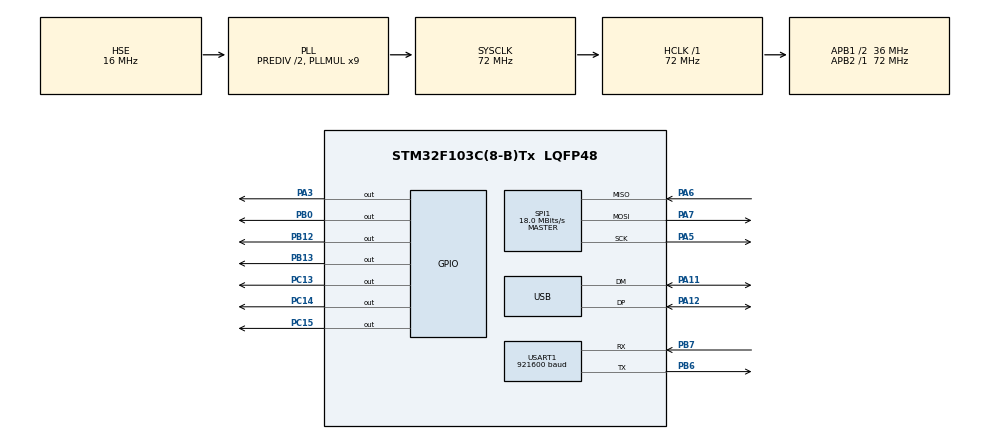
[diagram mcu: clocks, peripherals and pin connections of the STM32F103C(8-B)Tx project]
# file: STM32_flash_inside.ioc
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Mcu.Family=STM32F1
Mcu.Name=STM32F103C(8-B)Tx
Mcu.Package=LQFP48
NVIC.PriorityGroup=NVIC_PRIORITYGROUP_4
NVIC.USART1_IRQn=true\:0\:0\:false\:false\:true\:true\:true
NVIC.USB_LP_CAN1_RX0_IRQn=true\:1\:0\:true\:false\:true\:false\:true
PA11.Mode=Device
PA11.Signal=USB_DM
PA12.Mode=Device
PA12.Signal=USB_DP
PA13.Mode=Serial_Wire
PA13.Signal=SYS_JTMS-SWDIO
PA14.Mode=Serial_Wire
PA14.Signal=SYS_JTCK-SWCLK
PA3.GPIO_Speed=GPIO_SPEED_FREQ_HIGH
PA3.PinState=GPIO_PIN_SET
PA3.Signal=GPIO_Output
PA5.Mode=Full_Duplex_Master
PA5.Signal=SPI1_SCK
PA6.Mode=Full_Duplex_Master
PA6.Signal=SPI1_MISO
PA7.Mode=Full_Duplex_Master
PA7.Signal=SPI1_MOSI
PB0.GPIO_Speed=GPIO_SPEED_FREQ_HIGH
PB0.PinState=GPIO_PIN_SET
PB0.Signal=GPIO_Output
PB12.Signal=GPIO_Output
PB13.Signal=GPIO_Output
PB6.Mode=Asynchronous
PB6.Signal=USART1_TX
PB7.Mode=Asynchronous
PB7.Signal=USART1_RX
PC13-TAMPER-RTC.GPIO_Speed=GPIO_SPEED_FREQ_HIGH
PC13-TAMPER-RTC.PinState=GPIO_PIN_SET
PC13-TAMPER-RTC.Signal=GPIO_Output
PC14-OSC32_IN.GPIO_Speed=GPIO_SPEED_FREQ_HIGH
PC14-OSC32_IN.PinState=GPIO_PIN_SET
PC14-OSC32_IN.Signal=GPIO_Output
PC15-OSC32_OUT.GPIO_Speed=GPIO_SPEED_FREQ_HIGH
PC15-OSC32_OUT.PinState=GPIO_PIN_SET
PC15-OSC32_OUT.Signal=GPIO_Output
PD0-OSC_IN.Mode=HSE-External-Oscillator
PD0-OSC_IN.Signal=RCC_OSC_IN
PD1-OSC_OUT.Mode=HSE-External-Oscillator
PD1-OSC_OUT.Signal=RCC_OSC_OUT
ProjectManager.HeapSize=0x400
ProjectManager.StackSize=0x800
ProjectManager.TargetToolchain=STM32CubeIDE
RCC.AHBFreq_Value=72000000
RCC.APB1CLKDivider=RCC_HCLK_DIV2
RCC.APB1Freq_Value=36000000
RCC.APB1TimFreq_Value=72000000
RCC.APB2Freq_Value=72000000
RCC.APB2TimFreq_Value=72000000
RCC.HCLKFreq_Value=72000000
RCC.HSEDivPLL=RCC_HSE_PREDIV_DIV2
RCC.HSE_VALUE=16000000
RCC.PLLMUL=RCC_PLL_MUL9
RCC.PLLSourceVirtual=RCC_PLLSOURCE_HSE
RCC.SYSCLKFreq_VALUE=72000000
RCC.SYSCLKSource=RCC_SYSCLKSOURCE_PLLCLK
RCC.USBFreq_Value=48000000
RCC.USBPrescaler=RCC_USBCLKSOURCE_PLL_DIV1_5
SPI1.BaudRatePrescaler=SPI_BAUDRATEPRESCALER_4
SPI1.CalculateBaudRate=18.0 MBits/s
SPI1.Direction=SPI_DIRECTION_2LINES
SPI1.Mode=SPI_MODE_MASTER
SPI1.VirtualType=VM_MASTER
TIM3.Period=9999
TIM3.Prescaler=71
TIM3.TIM_MasterOutputTrigger=TIM_TRGO_UPDATE
TIM3.TIM_MasterSlaveMode=TIM_MASTERSLAVEMODE_ENABLE
USART1.BaudRate=921600
USART1.VirtualMode=VM_ASYNC
USB_DEVICE.CLASS_NAME_FS=MSC
USB_DEVICE.MANUFACTURER_STRING=KARMA-E
USB_DEVICE.MSC_MEDIA_PACKET=1024
USB_DEVICE.PID_MSC_FS=0x2346
USB_DEVICE.PRODUCT_STRING_MSC_FS=Flash
USB_DEVICE.USBD_MAX_STR_DESC_SIZ=1024
USB_DEVICE.VID=0x1209
USB_DEVICE.VirtualMode=Msc
USB_DEVICE.VirtualModeFS=Msc_FS
VP_TIM2_VS_ClockSourceITR.Mode=TriggerSource_ITR2
VP_TIM2_VS_ControllerModeClock.Mode=Clock Mode
VP_TIM3_VS_ClockSourceINT.Mode=Internal
VP_USB_DEVICE_VS_USB_DEVICE_MSC_FS.Mode=MSC_FS
board=custom

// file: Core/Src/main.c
/* USER CODE BEGIN Header */
/**
  ******************************************************************************
  * @file           : main.c
  * @brief          : Main program body
  ******************************************************************************
  * @attention
  *
  * <h2><center>&copy; Copyright (c) 2021 STMicroelectronics.
  * All rights reserved.</center></h2>
  *
  * This software component is licensed by ST under BSD 3-Clause license,
  * the "License"; You may not use this file except in compliance with the
  * License. You may obtain a copy of the License at:
  *                        opensource.org/licenses/BSD-3-Clause
  *
  ******************************************************************************
  */
/* USER CODE END Header */
#include "main.h"
#include "usb_device.h"

/* USER CODE BEGIN Includes */
#include "ftl.h"
/* USER CODE END Includes */

/* USER CODE BEGIN PTD */

typedef struct flow_control_s
{
	uint32_t size_prev;
	uint32_t size_cur;
	uint32_t size_diff;
	uint32_t speed_cur;
}flow_control_s;

/* USER CODE END PTD */

SPI_HandleTypeDef hspi1;

TIM_HandleTypeDef htim2;
TIM_HandleTypeDef htim3;

UART_HandleTypeDef huart1;

/* USER CODE BEGIN PV */
uint32_t test_tmp = 0;
/* USER CODE END PV */

void SystemClock_Config(void);
static void MX_GPIO_Init(void);
static void MX_TIM2_Init(void);
static void MX_TIM3_Init(void);
static void MX_USART1_UART_Init(void);
static void MX_SPI1_Init(void);
/* USER CODE BEGIN PFP */
extern USBD_HandleTypeDef hUsbDeviceFS;
/* USER CODE END PFP */

/* USER CODE BEGIN 0 */
extern uint8_t receive_byte;
/* USER CODE END 0 */

int main(void)
{

  /* MCU Configuration--------------------------------------------------------*/

  /* Reset of all peripherals, Initializes the Flash interface and the Systick. */
  HAL_Init();

  /* Configure the system clock */
  SystemClock_Config();

  /* Initialize all configured peripherals */
  MX_GPIO_Init();
  MX_TIM2_Init();
  MX_TIM3_Init();
  //MX_USB_DEVICE_Init();
  MX_USART1_UART_Init();
  MX_SPI1_Init();
  /* USER CODE BEGIN 2 */

  	flash_debug_print("\r\r\rPower ON. Wait USB deinit\r");

  	HAL_TIM_Base_Init(&htim2);
  	HAL_TIM_Base_Start(&htim2);
  	HAL_TIM_Base_Init(&htim3);
  	HAL_TIM_Base_Start(&htim3);

  	GPIO_InitTypeDef GPIO_USB;
  	GPIO_USB.Pin = GPIO_PIN_11|GPIO_PIN_12;
  	GPIO_USB.Mode = GPIO_MODE_OUTPUT_PP;
  	GPIO_USB.Pull = GPIO_NOPULL;
  	GPIO_USB.Speed = GPIO_SPEED_FREQ_LOW;
  	HAL_GPIO_Init(GPIOA, &GPIO_USB);
  	HAL_GPIO_WritePin(GPIOA, GPIO_PIN_11, GPIO_PIN_RESET);
  	HAL_GPIO_WritePin(GPIOA, GPIO_PIN_12, GPIO_PIN_RESET);

  	for(uint16_t i=0; i<5; i++)
  	{
  		HAL_Delay(20);
  		flash_debug_print("*");
  	}
  	flash_debug_print("\rUSB start\r\r");

	flash_unlock();
	W25Q80_init(&hspi1);
  	FTL_init();

  	MX_USB_DEVICE_Init();

  	uint32_t led_reset_state_cnt = HAL_GetTick();
  	uint32_t idle_state_cnt = HAL_GetTick();

  	HAL_UART_Receive_IT(&huart1, &receive_byte, 1);

  	flow_control_s read, write;
  	read.size_prev = 0;
  	write.size_prev = 0;

  	char str_buf[100];

  	for(uint8_t i = 0; i < CS_QTY; i++)
  	{
  		W25Q80_set_cs_num(i);
  		uint16_t chip_id = W25Q80_get_id();
  		sprintf(str_buf, "Chip #%d status: %04X\r", i, chip_id);
  		flash_debug_print(str_buf);
  	}

  /* USER CODE END 2 */

  /* Infinite loop */
  /* USER CODE BEGIN WHILE */
  	while (1)
  	{
		uint32_t cur_tick = HAL_GetTick();

		if(led_reset_state_cnt 	> cur_tick) 	led_reset_state_cnt = cur_tick;
		if(idle_state_cnt 		> cur_tick) 	led_reset_state_cnt = cur_tick;

		if(led_reset_state_cnt + 30 < HAL_GetTick())
		{
			led_reset_state_cnt = HAL_GetTick();

			if(FTL_check_write_act(0))
			{
				if(!GPIO_READ(LED_RED_PORT, LED_RED_PIN))
				{
					GPIO_SET(LED_RED_PORT, LED_RED_PIN);
				}
				else
				{
					GPIO_RESET(LED_RED_PORT, LED_RED_PIN);
					FTL_check_write_act(1);
				}
			}

			if(FTL_check_read_act(0))
			{
				if(!GPIO_READ(LED_BLUE_PORT, LED_BLUE_PIN))
				{
					GPIO_SET(LED_BLUE_PORT, LED_BLUE_PIN);
				}
				else
				{
					GPIO_RESET(LED_BLUE_PORT, LED_BLUE_PIN);
					FTL_check_read_act(1);
				}
			}
		}

		if(idle_state_cnt + 50 < HAL_GetTick())
		{
			uint32_t time_delay = HAL_GetTick() - idle_state_cnt;

			read.size_cur  = FTL_bytes_read_qty();
			write.size_cur = FTL_bytes_write_qty();
			idle_state_cnt = HAL_GetTick();

			read.size_diff = read.size_cur - read.size_prev;
			read.speed_cur = (read.size_diff * 1000) / time_delay;
			read.size_prev = read.size_cur;
			write.size_diff = write.size_cur - write.size_prev;
			write.speed_cur = (write.size_diff * 1000) / time_delay;
			write.size_prev = write.size_cur;

			char str_buf[100];

			if(read.size_diff != 0 || write.size_diff != 0)
			{
				sprintf(str_buf, "Read: %lu %03lu B  Speed: %lu %03lu B/s\r",
						read.size_cur / 1000, read.size_cur % 1000, read.speed_cur / 1000, read.speed_cur % 1000);
				flash_debug_print(str_buf);

				sprintf(str_buf, "Write: %lu %03lu B  Speed: %lu %03lu B/s\r\r",
						write.size_cur / 1000, write.size_cur % 1000, write.speed_cur / 1000, write.speed_cur % 1000);
				flash_debug_print(str_buf);
			}

			if(FTL_get_idle_cnt())
			{
				FTL_set_idle_cnt(FTL_get_idle_cnt() - 1);
			}
			else
			{
			 	FTL_free_block_buf();
			}
		}

		if(receive_byte != 0)
		{
			if(receive_byte == 'r')
			{
				FTL_qty_reset();
			}
			else if(receive_byte == 'f')
			{
				flash_debug_print("Erase start ");

				for(uint8_t i = 0; i < CS_QTY; i++)
				{
					W25Q80_set_cs_num(i);
					W25Q80_erase_all();
					flash_debug_print("* ");
				}
				W25Q80_get_id();
				flash_debug_print("Erase finish\r");
			}
			receive_byte = 0;
		}

    /* USER CODE END WHILE */

  }
}

void SystemClock_Config(void)
{
  RCC_OscInitTypeDef RCC_OscInitStruct = {0};
  RCC_ClkInitTypeDef RCC_ClkInitStruct = {0};
  RCC_PeriphCLKInitTypeDef PeriphClkInit = {0};

  /** Initializes the RCC Oscillators according to the specified parameters
  * in the RCC_OscInitTypeDef structure.
  */
  RCC_OscInitStruct.OscillatorType = RCC_OSCILLATORTYPE_HSE;
  RCC_OscInitStruct.HSEState = RCC_HSE_ON;
  RCC_OscInitStruct.HSEPredivValue = RCC_HSE_PREDIV_DIV2;
  RCC_OscInitStruct.HSIState = RCC_HSI_ON;
  RCC_OscInitStruct.PLL.PLLState = RCC_PLL_ON;
  RCC_OscInitStruct.PLL.PLLSource = RCC_PLLSOURCE_HSE;
  RCC_OscInitStruct.PLL.PLLMUL = RCC_PLL_MUL9;
  if (HAL_RCC_OscConfig(&RCC_OscInitStruct) != HAL_OK)
  {
    Error_Handler();
  }
  /** Initializes the CPU, AHB and APB buses clocks
  */
  RCC_ClkInitStruct.ClockType = RCC_CLOCKTYPE_HCLK|RCC_CLOCKTYPE_SYSCLK
                              |RCC_CLOCKTYPE_PCLK1|RCC_CLOCKTYPE_PCLK2;
  RCC_ClkInitStruct.SYSCLKSource = RCC_SYSCLKSOURCE_PLLCLK;
  RCC_ClkInitStruct.AHBCLKDivider = RCC_SYSCLK_DIV1;
  RCC_ClkInitStruct.APB1CLKDivider = RCC_HCLK_DIV2;
  RCC_ClkInitStruct.APB2CLKDivider = RCC_HCLK_DIV1;

  if (HAL_RCC_ClockConfig(&RCC_ClkInitStruct, FLASH_LATENCY_2) != HAL_OK)
  {
    Error_Handler();
  }
  PeriphClkInit.PeriphClockSelection = RCC_PERIPHCLK_USB;
  PeriphClkInit.UsbClockSelection = RCC_USBCLKSOURCE_PLL_DIV1_5;
  if (HAL_RCCEx_PeriphCLKConfig(&PeriphClkInit) != HAL_OK)
  {
    Error_Handler();
  }
}

static void MX_SPI1_Init(void)
{

  /* SPI1 parameter configuration*/
  hspi1.Instance = SPI1;
  hspi1.Init.Mode = SPI_MODE_MASTER;
  hspi1.Init.Direction = SPI_DIRECTION_2LINES;
  hspi1.Init.DataSize = SPI_DATASIZE_8BIT;
  hspi1.Init.CLKPolarity = SPI_POLARITY_LOW;
  hspi1.Init.CLKPhase = SPI_PHASE_1EDGE;
  hspi1.Init.NSS = SPI_NSS_SOFT;
  hspi1.Init.BaudRatePrescaler = SPI_BAUDRATEPRESCALER_4;
  hspi1.Init.FirstBit = SPI_FIRSTBIT_MSB;
  hspi1.Init.TIMode = SPI_TIMODE_DISABLE;
  hspi1.Init.CRCCalculation = SPI_CRCCALCULATION_DISABLE;
  hspi1.Init.CRCPolynomial = 10;
  if (HAL_SPI_Init(&hspi1) != HAL_OK)
  {
    Error_Handler();
  }

}

static void MX_TIM2_Init(void)
{

  TIM_SlaveConfigTypeDef sSlaveConfig = {0};
  TIM_MasterConfigTypeDef sMasterConfig = {0};

  htim2.Instance = TIM2;
  htim2.Init.Prescaler = 0;
  htim2.Init.CounterMode = TIM_COUNTERMODE_UP;
  htim2.Init.Period = 65535;
  htim2.Init.ClockDivision = TIM_CLOCKDIVISION_DIV1;
  htim2.Init.AutoReloadPreload = TIM_AUTORELOAD_PRELOAD_DISABLE;
  if (HAL_TIM_Base_Init(&htim2) != HAL_OK)
  {
    Error_Handler();
  }
  sSlaveConfig.SlaveMode = TIM_SLAVEMODE_EXTERNAL1;
  sSlaveConfig.InputTrigger = TIM_TS_ITR2;
  if (HAL_TIM_SlaveConfigSynchro(&htim2, &sSlaveConfig) != HAL_OK)
  {
    Error_Handler();
  }
  sMasterConfig.MasterOutputTrigger = TIM_TRGO_RESET;
  sMasterConfig.MasterSlaveMode = TIM_MASTERSLAVEMODE_DISABLE;
  if (HAL_TIMEx_MasterConfigSynchronization(&htim2, &sMasterConfig) != HAL_OK)
  {
    Error_Handler();
  }

}

static void MX_TIM3_Init(void)
{

  TIM_ClockConfigTypeDef sClockSourceConfig = {0};
  TIM_MasterConfigTypeDef sMasterConfig = {0};

  htim3.Instance = TIM3;
  htim3.Init.Prescaler = 71;
  htim3.Init.CounterMode = TIM_COUNTERMODE_UP;
  htim3.Init.Period = 9999;
  htim3.Init.ClockDivision = TIM_CLOCKDIVISION_DIV1;
  htim3.Init.AutoReloadPreload = TIM_AUTORELOAD_PRELOAD_DISABLE;
  if (HAL_TIM_Base_Init(&htim3) != HAL_OK)
  {
    Error_Handler();
  }
  sClockSourceConfig.ClockSource = TIM_CLOCKSOURCE_INTERNAL;
  if (HAL_TIM_ConfigClockSource(&htim3, &sClockSourceConfig) != HAL_OK)
  {
    Error_Handler();
  }
  sMasterConfig.MasterOutputTrigger = TIM_TRGO_UPDATE;
  sMasterConfig.MasterSlaveMode = TIM_MASTERSLAVEMODE_ENABLE;
  if (HAL_TIMEx_MasterConfigSynchronization(&htim3, &sMasterConfig) != HAL_OK)
  {
    Error_Handler();
  }

}

static void MX_USART1_UART_Init(void)
{

  huart1.Instance = USART1;
  huart1.Init.BaudRate = 921600;
  huart1.Init.WordLength = UART_WORDLENGTH_8B;
  huart1.Init.StopBits = UART_STOPBITS_1;
  huart1.Init.Parity = UART_PARITY_NONE;
  huart1.Init.Mode = UART_MODE_TX_RX;
  huart1.Init.HwFlowCtl = UART_HWCONTROL_NONE;
  huart1.Init.OverSampling = UART_OVERSAMPLING_16;
  if (HAL_UART_Init(&huart1) != HAL_OK)
  {
    Error_Handler();
  }

}

static void MX_GPIO_Init(void)
{
  GPIO_InitTypeDef GPIO_InitStruct = {0};

  /* GPIO Ports Clock Enable */
  __HAL_RCC_GPIOC_CLK_ENABLE();
  __HAL_RCC_GPIOD_CLK_ENABLE();
  __HAL_RCC_GPIOA_CLK_ENABLE();
  __HAL_RCC_GPIOB_CLK_ENABLE();

  /*Configure GPIO pin Output Level */
  HAL_GPIO_WritePin(GPIOC, GPIO_PIN_13|GPIO_PIN_14|GPIO_PIN_15, GPIO_PIN_SET);

  /*Configure GPIO pin Output Level */
  HAL_GPIO_WritePin(GPIOA, GPIO_PIN_3, GPIO_PIN_SET);

  /*Configure GPIO pin Output Level */
  HAL_GPIO_WritePin(GPIOB, GPIO_PIN_0, GPIO_PIN_SET);

  /*Configure GPIO pin Output Level */
  HAL_GPIO_WritePin(GPIOB, GPIO_PIN_12|GPIO_PIN_13, GPIO_PIN_RESET);

  /*Configure GPIO pins : PC13 PC14 PC15 */
  GPIO_InitStruct.Pin = GPIO_PIN_13|GPIO_PIN_14|GPIO_PIN_15;
  GPIO_InitStruct.Mode = GPIO_MODE_OUTPUT_PP;
  GPIO_InitStruct.Pull = GPIO_NOPULL;
  GPIO_InitStruct.Speed = GPIO_SPEED_FREQ_HIGH;
  HAL_GPIO_Init(GPIOC, &GPIO_InitStruct);

  /*Configure GPIO pin : PA3 */
  GPIO_InitStruct.Pin = GPIO_PIN_3;
  GPIO_InitStruct.Mode = GPIO_MODE_OUTPUT_PP;
  GPIO_InitStruct.Pull = GPIO_NOPULL;
  GPIO_InitStruct.Speed = GPIO_SPEED_FREQ_HIGH;
  HAL_GPIO_Init(GPIOA, &GPIO_InitStruct);

  /*Configure GPIO pin : PB0 */
  GPIO_InitStruct.Pin = GPIO_PIN_0;
  GPIO_InitStruct.Mode = GPIO_MODE_OUTPUT_PP;
  GPIO_InitStruct.Pull = GPIO_NOPULL;
  GPIO_InitStruct.Speed = GPIO_SPEED_FREQ_HIGH;
  HAL_GPIO_Init(GPIOB, &GPIO_InitStruct);

  /*Configure GPIO pins : PB12 PB13 */
  GPIO_InitStruct.Pin = GPIO_PIN_12|GPIO_PIN_13;
  GPIO_InitStruct.Mode = GPIO_MODE_OUTPUT_PP;
  GPIO_InitStruct.Pull = GPIO_NOPULL;
  GPIO_InitStruct.Speed = GPIO_SPEED_FREQ_LOW;
  HAL_GPIO_Init(GPIOB, &GPIO_InitStruct);

}

void Error_Handler(void)
{
  __disable_irq();
  while (1)
  {
  }
}

/************************ (C) COPYRIGHT STMicroelectronics *****END OF FILE****/
